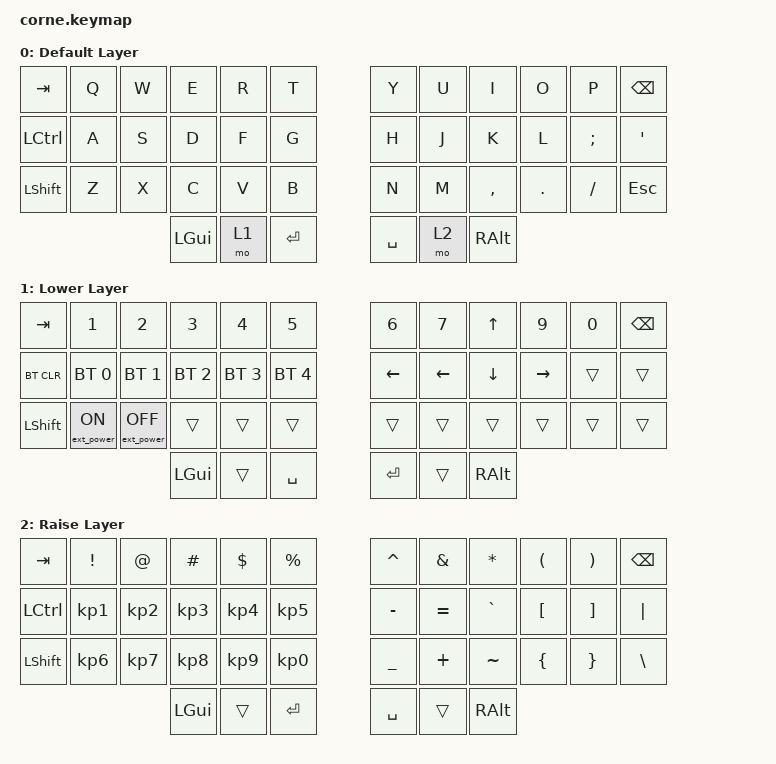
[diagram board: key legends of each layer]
/*
 * Copyright (c) 2020 The ZMK Contributors
 *
 * SPDX-License-Identifier: MIT
 */

#include <behaviors.dtsi>
#include <dt-bindings/zmk/bt.h>
#include <dt-bindings/zmk/ext_power.h>
#include <dt-bindings/zmk/keys.h>

/ {
    keymap {
        compatible = "zmk,keymap";

        default_layer {
            display-name = "Default Layer";

            // -----------------------------------------------------------------------------------------
            // |  TAB |  Q  |  W  |  E  |  R  |  T  |   |  Y  |  U   |  I  |  O  |  P  | BSPC |
            // | CTRL |  A  |  S  |  D  |  F  |  G  |   |  H  |  J   |  K  |  L  |  ;  |  '   |
            // | SHFT |  Z  |  X  |  C  |  V  |  B  |   |  N  |  M   |  ,  |  .  |  /  | ESC  |
            //                    | GUI | LWR | SPC |   | ENT | RSE  | ALT |

            bindings = <
&kp TAB    &kp Q  &kp W  &kp E     &kp R  &kp T        &kp Y      &kp U  &kp I      &kp O    &kp P     &kp BSPC
&kp LCTRL  &kp A  &kp S  &kp D     &kp F  &kp G        &kp H      &kp J  &kp K      &kp L    &kp SEMI  &kp SQT
&kp LSHFT  &kp Z  &kp X  &kp C     &kp V  &kp B        &kp N      &kp M  &kp COMMA  &kp DOT  &kp FSLH  &kp ESC
                         &kp LGUI  &mo 1  &kp ENTER    &kp SPACE  &mo 2  &kp RALT
            >;
        };

        lower_layer {
            display-name = "Lower Layer";

            // -----------------------------------------------------------------------------------------
            // |  TAB |  1  |  2  |  3  |  4  |  5  |   |  6  |  7  |  8  |  9  |  0  | BSPC |
            // | BTCLR| BT1 | BT2 | BT3 | BT4 | BT5 |   | LFT | DWN |  UP | RGT |     |      |
            // | SHFT |     |     |     |     |     |   |     |     |     |     |     |      |
            //                    | GUI |     | SPC |   | ENT |     | ALT |

            bindings = <
&kp TAB     &kp N1            &kp N2             &kp N3        &kp N4        &kp N5          &kp N6    &kp N7    &kp UP_ARROW  &kp N9     &kp N0  &kp BSPC
&bt BT_CLR  &bt BT_SEL 0      &bt BT_SEL 1       &bt BT_SEL 2  &bt BT_SEL 3  &bt BT_SEL 4    &kp LEFT  &kp LEFT  &kp DOWN      &kp RIGHT  &trans  &trans
&kp LSHFT   &ext_power EP_ON  &ext_power EP_OFF  &trans        &trans        &trans          &trans    &trans    &trans        &trans     &trans  &trans
                                                 &kp LGUI      &trans        &kp SPACE       &kp RET   &trans    &kp RALT
            >;
        };

        raise_layer {
            display-name = "Raise Layer";

            // -----------------------------------------------------------------------------------------
            // |  TAB |  !  |  @  |  #  |  $  |  %  |   |  ^  |  &  |  *  |  (  |  )  | BSPC |
            // | CTRL |     |     |     |     |     |   |  -  |  =  |  [  |  ]  |  \  |  `   |
            // | SHFT |     |     |     |     |     |   |  _  |  +  |  {  |  }  | "|" |  ~   |
            //                    | GUI |     | SPC |   | ENT |     | ALT |

            bindings = <
&kp TAB    &kp EXCL         &kp AT           &kp HASH         &kp DLLR         &kp PRCNT          &kp CARET  &kp AMPS   &kp ASTRK  &kp LPAR          &kp RPAR           &kp BSPC
&kp LCTRL  &kp KP_NUMBER_1  &kp KP_NUMBER_2  &kp KP_NUMBER_3  &kp KP_NUMBER_4  &kp KP_NUMBER_5    &kp MINUS  &kp EQUAL  &kp GRAVE  &kp LEFT_BRACKET  &kp RIGHT_BRACKET  &kp PIPE
&kp LSHFT  &kp KP_NUMBER_6  &kp KP_NUMBER_7  &kp KP_NUMBER_8  &kp KP_NUMBER_9  &kp KP_NUMBER_0    &kp UNDER  &kp PLUS   &kp TILDE  &kp LEFT_BRACE    &kp RIGHT_BRACE    &kp BACKSLASH
                                             &kp LGUI         &trans           &kp RET            &kp SPACE  &trans     &kp RALT
            >;
        };
    };
};
